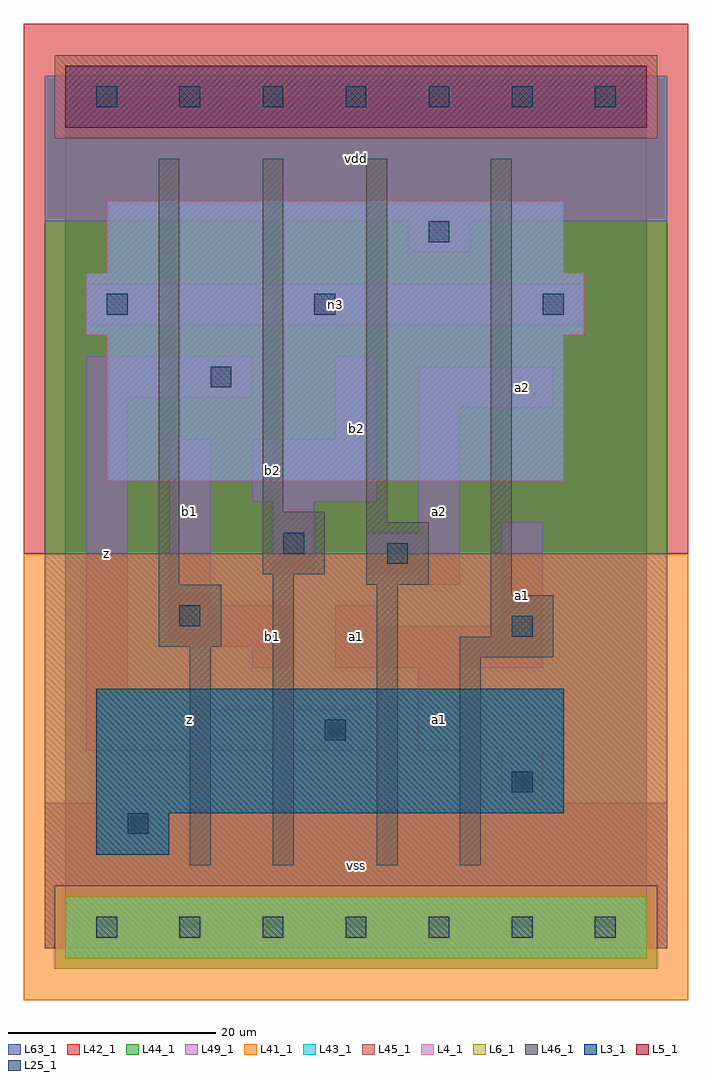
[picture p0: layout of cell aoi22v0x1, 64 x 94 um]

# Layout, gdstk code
import gdstk
lib = gdstk.Library(unit=1e-6, precision=1e-09)
def R(c, l, rs):  # rectangles x0, y0, x1, y1
    for r in rs: c.add(gdstk.rectangle(r[:2], r[2:], *l))
def A(c, l, x, y, w, h, nx, ny, dx, dy):  # array of equal rectangles
    R(c, l, [(x+i*dx, y+j*dy, x+i*dx+w, y+j*dy+h) for i in range(nx) for j in range(ny)])
L3_1 = (3, 1)
L4_1 = (4, 1)
L5_1 = (5, 1)
L6_1 = (6, 1)
L25_1 = (25, 1)
L41_1 = (41, 1)
L42_1 = (42, 1)
L43_1 = (43, 1)
L44_1 = (44, 1)
L45_1 = (45, 1)
L46_1 = (46, 1)
L49_1 = (49, 1)
L63_1 = (63, 1)

aoi22v0x1 = lib.new_cell('aoi22v0x1')
R(aoi22v0x1, L3_1, [(3,7,10,11), (3,11,48,23)])
R(aoi22v0x1, L4_1, [(4,43,48,57), (2,57,50,63), (4,63,48,70)])
R(aoi22v0x1, L5_1, [(0,77,56,83)])
R(aoi22v0x1, L6_1, [(0,-3,56,3), (0,-3,56,3)])
A(aoi22v0x1, L25_1, 3, -1, 2, 2, 7, 2, 8, 80)
R(aoi22v0x1, L25_1, [(6,9,8,11), (43,13,45,15), (25,18,27,20), (43,28,45,30), (11,29,13,31), (31,35,33,37), (21,36,23,38), (14,52,16,54), (4,59,6,61), (24,59,26,61), (46,59,48,61), (35,66,37,68)])
R(aoi22v0x1, L41_1, [(-4,-7,60,36)])
R(aoi22v0x1, L42_1, [(-4,36,60,87)])
R(aoi22v0x1, L43_1, [(0,-3,56,3), (3,7,10,11), (3,11,48,23), (4,43,48,57), (2,57,50,63), (4,63,48,70), (0,77,56,83)])
R(aoi22v0x1, L44_1, [(-1,-4,57,4), (-2,36,58,76), (-2,76,-1,82), (57,76,58,82)])
R(aoi22v0x1, L45_1, [(-2,-2,-1,4), (57,-2,58,4), (-2,4,58,36), (-1,76,57,84)])
R(aoi22v0x1, L46_1, [(12,6,14,27), (20,6,22,34), (30,6,32,33), (38,6,40,26), (38,26,47,28), (9,27,15,33), (41,28,47,32), (41,32,43,74), (9,33,11,74), (29,33,35,39), (19,34,25,40), (29,39,31,74), (19,40,21,74)])
R(aoi22v0x1, L49_1, [(-2,-2,58,12), (42,12,46,17), (2,17,29,21), (34,17,38,25), (2,21,14,23), (2,23,6,51), (18,25,22,27), (26,25,46,29), (10,27,22,31), (26,29,30,31), (42,29,46,39), (10,31,14,47), (34,33,38,34), (20,34,24,41), (29,34,38,38), (34,38,38,50), (18,41,30,47), (26,47,30,55), (34,50,47,54), (2,51,18,55), (2,58,50,62), (33,65,39,68), (-2,68,58,82)])
R(aoi22v0x1, L63_1, [(0,0,56,80)])
aoi22v0x1.add(gdstk.Label('z', (4,36), layer=49, texttype=1))
aoi22v0x1.add(gdstk.Label('z', (12,20), layer=49, texttype=1))
aoi22v0x1.add(gdstk.Label('b1', (12,40), layer=49, texttype=1))
aoi22v0x1.add(gdstk.Label('vss', (28,6), layer=49, texttype=1))
aoi22v0x1.add(gdstk.Label('b1', (20,28), layer=49, texttype=1))
aoi22v0x1.add(gdstk.Label('a1', (28,28), layer=49, texttype=1))
aoi22v0x1.add(gdstk.Label('b2', (20,44), layer=49, texttype=1))
aoi22v0x1.add(gdstk.Label('b2', (28,48), layer=49, texttype=1))
aoi22v0x1.add(gdstk.Label('vdd', (28,74), layer=49, texttype=1))
aoi22v0x1.add(gdstk.Label('a1', (36,20), layer=49, texttype=1))
aoi22v0x1.add(gdstk.Label('a1', (44,32), layer=49, texttype=1))
aoi22v0x1.add(gdstk.Label('a2', (36,40), layer=49, texttype=1))
aoi22v0x1.add(gdstk.Label('a2', (44,52), layer=49, texttype=1))
aoi22v0x1.add(gdstk.Label('n3', (26,60), layer=49, texttype=1))

lib.write_gds('aoi22v0x1.gds')
